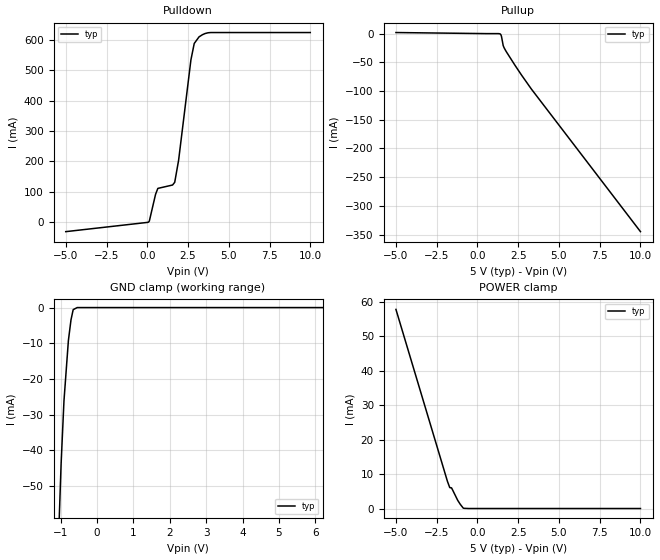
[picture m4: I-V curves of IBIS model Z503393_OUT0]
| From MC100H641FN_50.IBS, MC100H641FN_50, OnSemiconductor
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| (C) COPYRIGHT 1993-2000
| MENTOR GRAPHICS CORPORATION
| ICX STANDARD LIBRARY, ICX PROJECT MODELING,
| ICX CUSTOM MODELING, ICX VENDOR MODEL
| ALL RIGHTS RESERVED.
| THE FOLLOWING ARE TRADEMARKS OR SERVICE MARKS OF
| MENTOR GRAPHICS CORPORATION:ICX (R), ICX STANDARD
| LIBRARY(R), ICX PROJECT MODELING(R), ICX CUSTOM
| MODELING(R), qualityIBIS(TM), MODELVIEWER(TM),
| AND MODELEDITOR(TM)
| ALL COPIES OF SOFTWARE, INCLUDING BUT NOT LIMITED TO
| ANY MODIFICATIONS, ENHANCEMENTS OR DERIVATIVE WORKS,
| MUST CONTAIN ALL MENTOR GRAPHICS CORPORATION'S
| NOTICES AND LEGENDS, INCLUDING THOSE EMBEDDED IN
| SOFTWARE AND THOSE AFFIXED TO SOFTWARE MEDIUM
| AND CONTAINER, AS RECEIVED FROM MENTOR GRAPHICS
| CORPORATION.
| Model Application Version 1.89 2/18/99.
[Model] Z503393_OUT0
Model_type Output
Vref=0.000V
Rref=500.0Mohms
Cref=50.00pF
Vmeas=1.500V
C_comp 2.000pF NA NA
| variable typ   min   max
[Voltage Range] 5.000V NA NA
[POWER Clamp Reference] 5.000V NA NA
[Pullup Reference] 5.000V NA NA
[Pulldown Reference] 0.000V NA NA
[GND Clamp Reference] 0.000V NA NA
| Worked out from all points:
|   slope of the pulldown table from 0 to 0.75 V, typ, clamps not added: 6.61 ohm
|   slope of the pullup table from 0 to 0.75 V, typ, clamps not added: 3.79 kohm
|   GND clamp passes 1 mA (typ) near -0.67 V on its own axis
|   POWER clamp passes 1 mA (typ) near -1.02 V on its own axis
[GND Clamp]
-5V       -2.112A    NA         NA
-1.162V   -104.5mA   NA         NA
-1.067V   -66.32mA   NA         NA
-991.1mV  -43.75mA   NA         NA
-912.7mV  -26.16mA   NA         NA
-791mV    -9.241mA   NA         NA
-718.9mV  -3.411mA   NA         NA
-659.2mV  -585.6uA   NA         NA
-549.3mV  0A         NA         NA
10V       0A         NA         NA
[Pulldown]
-5V       -31.97mA   NA         NA
127.8mV   3.031mA    NA         NA
510.3mV   91.35mA    NA         NA
649.5mV   110.6mA    NA         NA
1.553V    121.8mA    NA         NA
1.685V    130.8mA    NA         NA
1.923V    203.5mA    NA         NA
2.678V    534.3mA    NA         NA
2.881V    588.4mA    NA         NA
3.174V    610.1mA    NA         NA
3.899V    624.5mA    NA         NA
10V       624.5mA    NA         NA
[Pullup]
-5V       1.827mA    NA         NA
1.401V    -746uA     NA         NA
1.475V    -4.992mA   NA         NA
1.579V    -20.82mA   NA         NA
1.748V    -30.52mA   NA         NA
2.696V    -71.91mA   NA         NA
3.31V     -96.64mA   NA         NA
10V       -344.8mA   NA         NA
[POWER Clamp]
-5V       57.76mA    NA         NA
-1.841V   7.884mA    NA         NA
-1.7V     6.08mA     NA         NA
-1.65V    6.012mA    NA         NA
-1.6V     6.012mA    NA         NA
-1.581V   5.927mA    NA         NA
-1.21V    2.364mA    NA         NA
-1.05V    1.193mA    NA         NA
-869mV    113.4uA    NA         NA
-811mV    55.18uA    NA         NA
-540.7mV  0A         NA         NA
10V       0A         NA         NA
[Ramp]
| variable typ min max
dV/dt_r 2.059/2.310n NA NA
dV/dt_f 2.059/1.010n NA NA
R_load = 500.0Ohms
